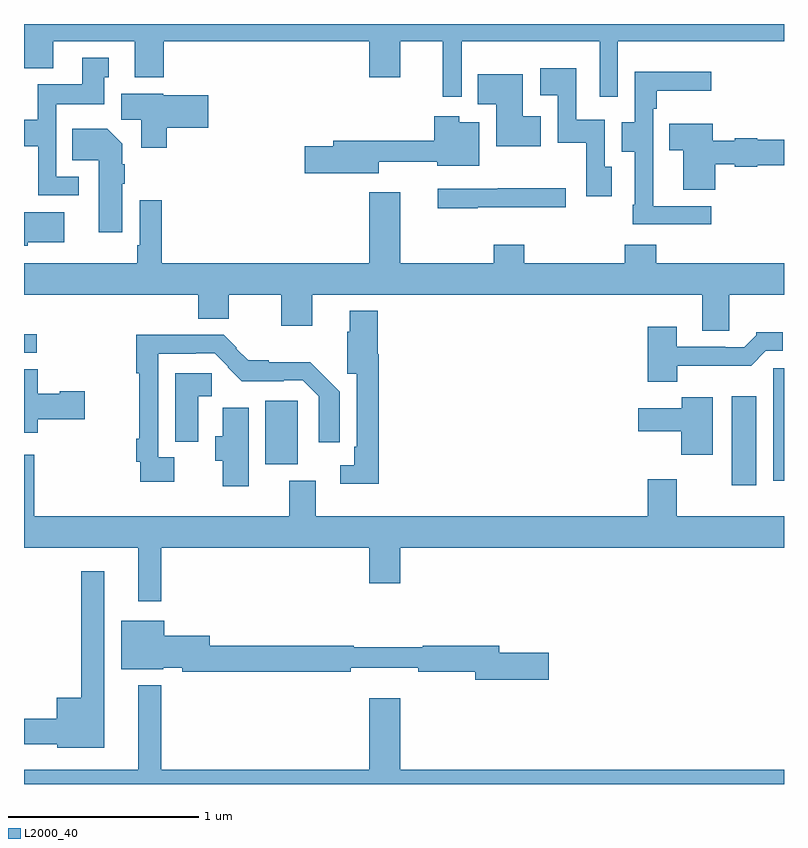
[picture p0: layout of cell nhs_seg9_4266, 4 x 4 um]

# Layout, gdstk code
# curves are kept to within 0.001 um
import gdstk
lib = gdstk.Library(unit=1e-6, precision=1e-09)
def R(c, l, rs):  # rectangles x0, y0, x1, y1
    for r in rs: c.add(gdstk.rectangle(r[:2], r[2:], *l))
def P(c, l, *ps):  # polygons
    for p in ps: c.add(gdstk.Polygon(p, *l))
L2000_40 = (2000, 40)

nhs_seg9_4266 = lib.new_cell('nhs_seg9_4266')
R(nhs_seg9_4266, L2000_40, [(358.724,1206.072,358.855,1206.541), (358.943,1206.096,359,1206.687), (356.27,1206.182,356.44,1206.516), (355,1206.771,355.066,1206.867)])
P(nhs_seg9_4266, L2000_40, [(357.303,1208.408),(358.029,1208.408),(358.029,1208.118),(358.125,1208.118),(358.125,1208.408),(359,1208.408),(359,1208.5),(355,1208.5),(355,1208.408),(355.001,1208.408),(355.001,1208.267),(355.153,1208.267),(355.153,1208.408),(355.583,1208.408),(355.583,1208.219),(355.736,1208.219),(355.736,1208.408),(356.816,1208.408),(356.816,1208.22),(356.98,1208.22),(356.98,1208.408),(357.205,1208.408),(357.205,1208.118),(357.303,1208.118)],
  [(355.288,1207.695),(355.17,1207.695),(355.17,1208.078),(355.423,1208.078),(355.423,1208.22),(355.447,1208.22),(355.447,1208.323),(355.307,1208.323),(355.307,1208.182),(355.072,1208.182),(355.072,1207.996),(355,1207.996),(355,1207.856),(355.074,1207.856),(355.074,1207.599),(355.288,1207.599)],
  [(358.093,1207.749),(358.056,1207.749),(358.056,1207.996),(357.906,1207.996),(357.906,1208.266),(357.717,1208.266),(357.717,1208.126),(357.81,1208.126),(357.81,1207.874),(357.958,1207.874),(357.958,1207.593),(358.093,1207.593)],
  [(358.618,1207.542),(358.312,1207.542),(358.312,1207.739),(358.311,1207.739),(358.311,1208.054),(358.331,1208.054),(358.331,1208.15),(358.618,1208.15),(358.618,1208.248),(358.215,1208.248),(358.215,1207.983),(358.145,1207.983),(358.145,1207.828),(358.215,1207.828),(358.215,1207.549),(358.203,1207.549),(358.203,1207.446),(358.618,1207.446)],
  [(357.721,1208.014),(357.625,1208.014),(357.625,1208.236),(357.388,1208.236),(357.388,1208.078),(357.485,1208.078),(357.485,1207.856),(357.721,1207.856)],
  [(355.751,1207.955),(355.969,1207.955),(355.969,1208.125),(355.734,1208.125),(355.734,1208.134),(355.511,1208.134),(355.511,1207.996),(355.616,1207.996),(355.616,1207.848),(355.751,1207.848)],
  [(356.866,1207.775),(357.174,1207.775),(357.174,1207.754),(357.397,1207.754),(357.397,1207.984),(357.292,1207.984),(357.292,1208.014),(357.158,1208.014),(357.158,1207.885),(356.627,1207.885),(356.627,1207.856),(356.478,1207.856),(356.478,1207.714),(356.866,1207.714)],
  [(358.637,1207.763),(358.74,1207.763),(358.74,1207.748),(358.86,1207.748),(358.86,1207.756),(359,1207.756),(359,1207.892),(358.86,1207.892),(358.86,1207.9),(358.74,1207.9),(358.74,1207.885),(358.624,1207.885),(358.624,1207.975),(358.396,1207.975),(358.396,1207.835),(358.469,1207.835),(358.469,1207.627),(358.637,1207.627)],
  [(355.516,1207.66),(355.529,1207.66),(355.529,1207.763),(355.516,1207.763),(355.516,1207.87),(355.438,1207.948),(355.255,1207.948),(355.255,1207.784),(355.394,1207.784),(355.394,1207.404),(355.516,1207.404)],
  [(357.389,1207.535),(357.85,1207.535),(357.85,1207.635),(357.493,1207.635),(357.493,1207.632),(357.177,1207.632),(357.177,1207.531),(357.389,1207.531)],
  [(358.711,1207.076),(359,1207.076),(359,1207.24),(358.328,1207.24),(358.328,1207.339),(358.163,1207.339),(358.163,1207.24),(357.632,1207.24),(357.632,1207.339),(357.472,1207.339),(357.472,1207.24),(356.98,1207.24),(356.98,1207.615),(356.816,1207.615),(356.816,1207.24),(355.724,1207.24),(355.724,1207.573),(355.608,1207.573),(355.608,1207.336),(355.596,1207.336),(355.596,1207.24),(355,1207.24),(355,1207.076),(355.916,1207.076),(355.916,1206.95),(356.077,1206.95),(356.077,1207.076),(356.354,1207.076),(356.354,1206.912),(356.518,1206.912),(356.518,1207.076),(358.571,1207.076),(358.571,1206.886),(358.711,1206.886)],
  [(355.02,1207.352),(355.213,1207.352),(355.213,1207.51),(355,1207.51),(355,1207.334),(355.02,1207.334)],
  [(356.867,1206.763),(356.861,1206.763),(356.861,1206.991),(356.714,1206.991),(356.714,1206.881),(356.702,1206.881),(356.702,1206.66),(356.751,1206.66),(356.751,1206.274),(356.739,1206.274),(356.739,1206.177),(356.664,1206.177),(356.664,1206.08),(356.867,1206.08)],
  [(358.438,1206.702),(358.827,1206.702),(358.905,1206.78),(358.993,1206.78),(358.993,1206.877),(358.854,1206.877),(358.854,1206.862),(358.79,1206.798),(358.691,1206.798),(358.691,1206.801),(358.435,1206.801),(358.435,1206.907),(358.283,1206.907),(358.283,1206.617),(358.438,1206.617)],
  [(355.79,1206.22),(355.707,1206.22),(355.707,1206.764),(355.904,1206.764),(355.904,1206.768),(356.004,1206.768),(356.076,1206.696),(356.073,1206.693),(356.147,1206.62),(356.366,1206.62),(356.366,1206.624),(356.466,1206.624),(356.55,1206.54),(356.55,1206.3),(356.662,1206.3),(356.662,1206.564),(356.507,1206.721),(356.287,1206.721),(356.287,1206.729),(356.179,1206.729),(356.117,1206.791),(356.121,1206.795),(356.051,1206.865),(355.591,1206.865),(355.591,1206.661),(355.606,1206.661),(355.606,1206.316),(355.591,1206.316),(355.591,1206.196),(355.611,1206.196),(355.611,1206.092),(355.79,1206.092)],
  [(355.072,1206.419),(355.321,1206.419),(355.321,1206.566),(355.188,1206.566),(355.188,1206.553),(355.072,1206.553),(355.072,1206.682),(355,1206.682),(355,1206.35),(355.072,1206.35)],
  [(355.918,1206.542),(355.987,1206.542),(355.987,1206.662),(355.796,1206.662),(355.796,1206.301),(355.918,1206.301)],
  [(358.624,1206.535),(358.462,1206.535),(358.462,1206.478),(358.233,1206.478),(358.233,1206.356),(358.46,1206.356),(358.46,1206.234),(358.624,1206.234)],
  [(356.182,1206.481),(356.045,1206.481),(356.045,1206.331),(356.006,1206.331),(356.006,1206.202),(356.045,1206.202),(356.045,1206.066),(356.182,1206.066)],
  [(355.723,1205.744),(356.816,1205.744),(356.816,1205.556),(356.98,1205.556),(356.98,1205.744),(359,1205.744),(359,1205.908),(358.435,1205.908),(358.435,1206.103),(358.283,1206.103),(358.283,1205.908),(356.536,1205.908),(356.536,1206.097),(356.396,1206.097),(356.396,1205.908),(355.055,1205.908),(355.055,1206.232),(355,1206.232),(355,1205.744),(355.601,1205.744),(355.601,1205.463),(355.723,1205.463)],
  [(355.423,1205.62),(355.302,1205.62),(355.302,1204.954),(355.172,1204.954),(355.172,1204.844),(355,1204.844),(355,1204.709),(355.176,1204.709),(355.176,1204.691),(355.423,1204.691)],
  [(357.763,1205.192),(357.502,1205.192),(357.502,1205.228),(357.098,1205.228),(357.098,1205.221),(356.736,1205.221),(356.736,1205.228),(355.978,1205.228),(355.978,1205.281),(355.738,1205.281),(355.738,1205.359),(355.511,1205.359),(355.511,1205.105),(355.734,1205.105),(355.734,1205.111),(355.834,1205.111),(355.834,1205.092),(356.72,1205.092),(356.72,1205.111),(357.076,1205.111),(357.076,1205.092),(357.374,1205.092),(357.374,1205.05),(357.763,1205.05)],
  [(359,1204.576),(356.98,1204.576),(356.98,1204.951),(356.816,1204.951),(356.816,1204.576),(355.723,1204.576),(355.723,1205.02),(355.601,1205.02),(355.601,1204.576),(355,1204.576),(355,1204.5),(359,1204.5)])

lib.write_gds('nhs_seg9_4266.gds')
